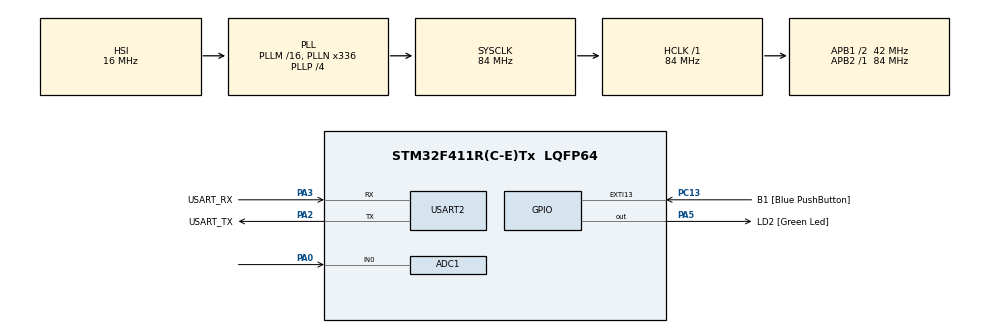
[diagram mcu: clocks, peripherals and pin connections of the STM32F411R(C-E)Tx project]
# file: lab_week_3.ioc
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ADC1.Channel-0\#ChannelRegularConversion=ADC_CHANNEL_0
ADC1.NbrOfConversionFlag=1
ADC1.Rank-0\#ChannelRegularConversion=1
ADC1.SamplingTime-0\#ChannelRegularConversion=ADC_SAMPLETIME_3CYCLES
ADC1.master=1
Mcu.Family=STM32F4
Mcu.Name=STM32F411R(C-E)Tx
Mcu.Package=LQFP64
NVIC.PriorityGroup=NVIC_PRIORITYGROUP_0
PA0-WKUP.Signal=ADCx_IN0
PA13.GPIO_Label=TMS
PA13.Mode=Serial_Wire
PA13.Signal=SYS_JTMS-SWDIO
PA14.GPIO_Label=TCK
PA14.Mode=Serial_Wire
PA14.Signal=SYS_JTCK-SWCLK
PA2.GPIO_Label=USART_TX
PA2.Mode=Asynchronous
PA2.Signal=USART2_TX
PA3.GPIO_Label=USART_RX
PA3.Mode=Asynchronous
PA3.Signal=USART2_RX
PA5.GPIO_Label=LD2 [Green Led]
PA5.Signal=GPIO_Output
PB3.GPIO_Label=SWO
PB3.Signal=SYS_JTDO-SWO
PC13-ANTI_TAMP.GPIO_Label=B1 [Blue PushButton]
PC13-ANTI_TAMP.GPIO_ModeDefaultEXTI=GPIO_MODE_IT_FALLING
PC13-ANTI_TAMP.Signal=GPXTI13
PC14-OSC32_IN.Mode=LSE-External-Oscillator
PC14-OSC32_IN.Signal=RCC_OSC32_IN
PC15-OSC32_OUT.Mode=LSE-External-Oscillator
PC15-OSC32_OUT.Signal=RCC_OSC32_OUT
PH0\ -\ OSC_IN.Mode=HSE-External-Clock-Source
PH0\ -\ OSC_IN.Signal=RCC_OSC_IN
PH1\ -\ OSC_OUT.Mode=HSE-External-Clock-Source
PH1\ -\ OSC_OUT.Signal=RCC_OSC_OUT
ProjectManager.HeapSize=0x200
ProjectManager.StackSize=0x400
ProjectManager.TargetToolchain=STM32CubeIDE
RCC.48MHZClocksFreq_Value=84000000
RCC.AHBFreq_Value=84000000
RCC.APB1CLKDivider=RCC_HCLK_DIV2
RCC.APB1Freq_Value=42000000
RCC.APB1TimFreq_Value=84000000
RCC.APB2Freq_Value=84000000
RCC.APB2TimFreq_Value=84000000
RCC.CortexFreq_Value=84000000
RCC.FLatency-AdvancedSettings=FLASH_LATENCY_2
RCC.HCLKFreq_Value=84000000
RCC.HSE_VALUE=8000000
RCC.HSI_VALUE=16000000
RCC.PLLN=336
RCC.PLLP=RCC_PLLP_DIV4
RCC.SYSCLKFreq_VALUE=84000000
RCC.SYSCLKSource=RCC_SYSCLKSOURCE_PLLCLK
RCC.VCOOutputFreq_Value=336000000
SH.ADCx_IN0.0=ADC1_IN0,IN0
USART2.VirtualMode=VM_ASYNC
VP_ADC1_TempSens_Input.Mode=IN-TempSens
board=NUCLEO-F411RE

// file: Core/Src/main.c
/* USER CODE BEGIN Header */
/**
  ******************************************************************************
  * @file           : main.c
  * @brief          : Main program body
  ******************************************************************************
  * @attention
  *
  * <h2><center>&copy; Copyright (c) 2021 STMicroelectronics.
  * All rights reserved.</center></h2>
  *
  * This software component is licensed by ST under BSD 3-Clause license,
  * the "License"; You may not use this file except in compliance with the
  * License. You may obtain a copy of the License at:
  *                        opensource.org/licenses/BSD-3-Clause
  *
  ******************************************************************************
  */
/* USER CODE END Header */
#include "main.h"

ADC_HandleTypeDef hadc1;

UART_HandleTypeDef huart2;

/* USER CODE BEGIN PV */
uint16_t adcdata[2] = { 0 };
int ADCMode=0;
float ADCOutputConverted=0;
int V25=760;//mv
float AVG_Slove= 2.5;
GPIO_PinState SwithMode[2];
typedef struct
{
	ADC_ChannelConfTypeDef Config;
	uint32_t Data;
}ADCStructure;
ADCStructure ADCChannel[2]={0};

/* USER CODE END PV */

void SystemClock_Config(void);
static void MX_GPIO_Init(void);
static void MX_USART2_UART_Init(void);
static void MX_ADC1_Init(void);
/* USER CODE BEGIN PFP */
void ADCpollingMethodInit(); //inint Config of 2 ADC
void ADCpollingMethodUpdate(); //read ADC From 2 resource(in0,Temp)

/* USER CODE END PFP */

int main(void)
{

  /* MCU Configuration--------------------------------------------------------*/

  /* Reset of all peripherals, Initializes the Flash interface and the Systick. */
  HAL_Init();

  /* Configure the system clock */
  SystemClock_Config();

  /* Initialize all configured peripherals */
  MX_GPIO_Init();
  MX_USART2_UART_Init();
  MX_ADC1_Init();
  /* USER CODE BEGIN 2 */
  ADCpollingMethodInit();

  /* USER CODE END 2 */

  /* Infinite loop */
  while (1)
  {

    /* USER CODE BEGIN 3 */
	  //read analog
	  ADCpollingMethodUpdate();

  }
  /* USER CODE END 3 */
}

void SystemClock_Config(void)
{
  RCC_OscInitTypeDef RCC_OscInitStruct = {0};
  RCC_ClkInitTypeDef RCC_ClkInitStruct = {0};

  /** Configure the main internal regulator output voltage
  */
  __HAL_RCC_PWR_CLK_ENABLE();
  __HAL_PWR_VOLTAGESCALING_CONFIG(PWR_REGULATOR_VOLTAGE_SCALE1);
  /** Initializes the RCC Oscillators according to the specified parameters
  * in the RCC_OscInitTypeDef structure.
  */
  RCC_OscInitStruct.OscillatorType = RCC_OSCILLATORTYPE_HSI;
  RCC_OscInitStruct.HSIState = RCC_HSI_ON;
  RCC_OscInitStruct.HSICalibrationValue = RCC_HSICALIBRATION_DEFAULT;
  RCC_OscInitStruct.PLL.PLLState = RCC_PLL_ON;
  RCC_OscInitStruct.PLL.PLLSource = RCC_PLLSOURCE_HSI;
  RCC_OscInitStruct.PLL.PLLM = 16;
  RCC_OscInitStruct.PLL.PLLN = 336;
  RCC_OscInitStruct.PLL.PLLP = RCC_PLLP_DIV4;
  RCC_OscInitStruct.PLL.PLLQ = 4;
  if (HAL_RCC_OscConfig(&RCC_OscInitStruct) != HAL_OK)
  {
    Error_Handler();
  }
  /** Initializes the CPU, AHB and APB buses clocks
  */
  RCC_ClkInitStruct.ClockType = RCC_CLOCKTYPE_HCLK|RCC_CLOCKTYPE_SYSCLK
                              |RCC_CLOCKTYPE_PCLK1|RCC_CLOCKTYPE_PCLK2;
  RCC_ClkInitStruct.SYSCLKSource = RCC_SYSCLKSOURCE_PLLCLK;
  RCC_ClkInitStruct.AHBCLKDivider = RCC_SYSCLK_DIV1;
  RCC_ClkInitStruct.APB1CLKDivider = RCC_HCLK_DIV2;
  RCC_ClkInitStruct.APB2CLKDivider = RCC_HCLK_DIV1;

  if (HAL_RCC_ClockConfig(&RCC_ClkInitStruct, FLASH_LATENCY_2) != HAL_OK)
  {
    Error_Handler();
  }
}

static void MX_ADC1_Init(void)
{

  ADC_ChannelConfTypeDef sConfig = {0};

  /** Configure the global features of the ADC (Clock, Resolution, Data Alignment and number of conversion)
  */
  hadc1.Instance = ADC1;
  hadc1.Init.ClockPrescaler = ADC_CLOCK_SYNC_PCLK_DIV4;
  hadc1.Init.Resolution = ADC_RESOLUTION_12B;
  hadc1.Init.ScanConvMode = DISABLE;
  hadc1.Init.ContinuousConvMode = DISABLE;
  hadc1.Init.DiscontinuousConvMode = DISABLE;
  hadc1.Init.ExternalTrigConvEdge = ADC_EXTERNALTRIGCONVEDGE_NONE;
  hadc1.Init.ExternalTrigConv = ADC_SOFTWARE_START;
  hadc1.Init.DataAlign = ADC_DATAALIGN_RIGHT;
  hadc1.Init.NbrOfConversion = 1;
  hadc1.Init.DMAContinuousRequests = DISABLE;
  hadc1.Init.EOCSelection = ADC_EOC_SINGLE_CONV;
  if (HAL_ADC_Init(&hadc1) != HAL_OK)
  {
    Error_Handler();
  }
  /** Configure for the selected ADC regular channel its corresponding rank in the sequencer and its sample time.
  */
  sConfig.Channel = ADC_CHANNEL_0;
  sConfig.Rank = 1;
  sConfig.SamplingTime = ADC_SAMPLETIME_3CYCLES;
  if (HAL_ADC_ConfigChannel(&hadc1, &sConfig) != HAL_OK)
  {
    Error_Handler();
  }

}

static void MX_USART2_UART_Init(void)
{

  huart2.Instance = USART2;
  huart2.Init.BaudRate = 115200;
  huart2.Init.WordLength = UART_WORDLENGTH_8B;
  huart2.Init.StopBits = UART_STOPBITS_1;
  huart2.Init.Parity = UART_PARITY_NONE;
  huart2.Init.Mode = UART_MODE_TX_RX;
  huart2.Init.HwFlowCtl = UART_HWCONTROL_NONE;
  huart2.Init.OverSampling = UART_OVERSAMPLING_16;
  if (HAL_UART_Init(&huart2) != HAL_OK)
  {
    Error_Handler();
  }

}

static void MX_GPIO_Init(void)
{
  GPIO_InitTypeDef GPIO_InitStruct = {0};

  /* GPIO Ports Clock Enable */
  __HAL_RCC_GPIOC_CLK_ENABLE();
  __HAL_RCC_GPIOH_CLK_ENABLE();
  __HAL_RCC_GPIOA_CLK_ENABLE();
  __HAL_RCC_GPIOB_CLK_ENABLE();

  /*Configure GPIO pin Output Level */
  HAL_GPIO_WritePin(LD2_GPIO_Port, LD2_Pin, GPIO_PIN_RESET);

  /*Configure GPIO pin : B1_Pin */
  GPIO_InitStruct.Pin = B1_Pin;
  GPIO_InitStruct.Mode = GPIO_MODE_IT_FALLING;
  GPIO_InitStruct.Pull = GPIO_NOPULL;
  HAL_GPIO_Init(B1_GPIO_Port, &GPIO_InitStruct);

  /*Configure GPIO pin : LD2_Pin */
  GPIO_InitStruct.Pin = LD2_Pin;
  GPIO_InitStruct.Mode = GPIO_MODE_OUTPUT_PP;
  GPIO_InitStruct.Pull = GPIO_NOPULL;
  GPIO_InitStruct.Speed = GPIO_SPEED_FREQ_LOW;
  HAL_GPIO_Init(LD2_GPIO_Port, &GPIO_InitStruct);

}

/* USER CODE BEGIN 4 */
void ADCpollingMethodInit()
{
	//PA0=ADC IN0
	ADCChannel[0].Config.Channel=ADC_CHANNEL_0;
	ADCChannel[0].Config.Rank=1;
	ADCChannel[0].Config.SamplingTime=ADC_SAMPLETIME_3CYCLES;

	//Temp
	ADCChannel[1].Config.Channel=ADC_CHANNEL_TEMPSENSOR;
	ADCChannel[1].Config.Rank=1;
	ADCChannel[1].Config.SamplingTime=ADC_SAMPLETIME_3CYCLES;
}

void ADCpollingMethodUpdate()
{
	SwithMode[0]=HAL_GPIO_ReadPin(GPIOC, GPIO_PIN_13);
	if(SwithMode[0]==0&&SwithMode[1]==1)
	{
		if(ADCMode==0)
		{
			ADCMode=1;
			//select channel
			HAL_ADC_ConfigChannel(&hadc1, &ADCChannel[1].Config);

			//ADC Sampling,Convert
			HAL_ADC_Start(&hadc1);

			//Wait ADC
			if(HAL_ADC_PollForConversion(&hadc1, 10)==HAL_OK)
			{
				//Get value
				ADCChannel[1].Data=HAL_ADC_GetValue(&hadc1);
			}
			//Stop
			HAL_ADC_Stop(&hadc1);
			ADCChannel[0].Data=0;
			ADCOutputConverted= (((((ADCChannel[1].Data*3.3)/4096)*1000)-V25)/AVG_Slove)+25;
		}
		else
		{
			ADCMode=0;
			//select channel
			HAL_ADC_ConfigChannel(&hadc1, &ADCChannel[0].Config);

			//ADC Sampling,Convert
			HAL_ADC_Start(&hadc1);

			//Wait ADC
			if(HAL_ADC_PollForConversion(&hadc1, 10)==HAL_OK)
			{
				//Get value
				ADCChannel[0].Data=HAL_ADC_GetValue(&hadc1);
			}
			//Stop
			HAL_ADC_Stop(&hadc1);
			ADCChannel[1].Data=0;
			ADCOutputConverted= (((ADCChannel[0].Data*3.3)/4096)*1000);
		}
	}
	SwithMode[1]=SwithMode[0];
}

/* USER CODE END 4 */

void Error_Handler(void)
{
  __disable_irq();
  while (1)
  {
  }
}

/************************ (C) COPYRIGHT STMicroelectronics *****END OF FILE****/
